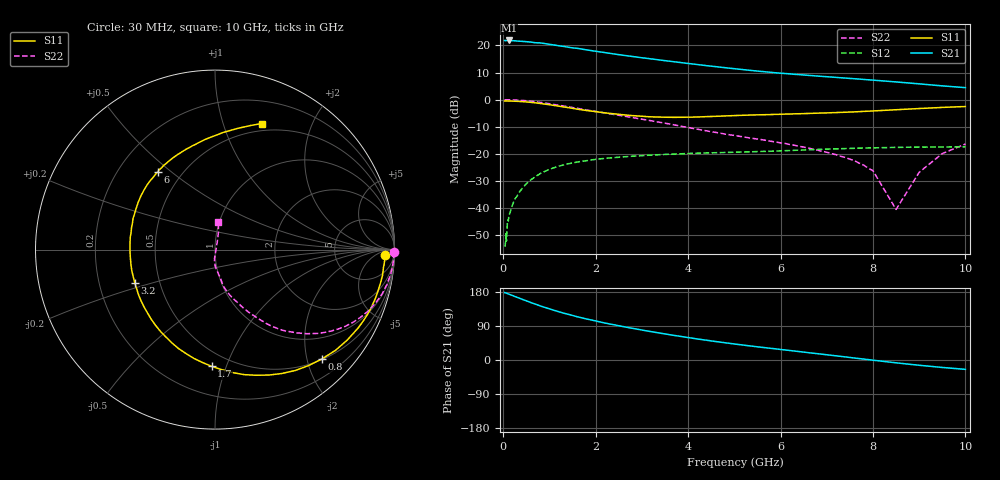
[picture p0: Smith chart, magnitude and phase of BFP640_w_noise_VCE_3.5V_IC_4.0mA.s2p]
! Infineon Technologies  Discrete & RF Semiconductors
! BFP640
! VCE =  3.5 V,  IC =  4.0 mA
! Common Emitter S-Parameters:  Apr 2013
# GHz  S  MA  R  50
!  f  S11  S21  S12  S22
! GHz  MAG  ANG  MAG  ANG  MAG  ANG  MAG  ANG
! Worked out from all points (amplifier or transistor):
!   99 points, 30 MHz to 10 GHz, reference 50 ohm
!   highest |S21| = 21.8 dB at 120 MHz (marker M1)
!   |S21| within 3 dB of that: start of sweep to 1.636 GHz
!   unconditionally stable (mu >= 1): 5.247 GHz to end of sweep
!   at 350 MHz: K = 0.07, MSG = 27.8 dB, |S12| = -34.1 dB
!   at 3.5 GHz: K = 0.77, MSG = 17.3 dB, |S12| = -20.2 dB
!   at 10 GHz: K = 1.17, MAG = 8.4 dB, |S12| = -17.4 dB
!   lowest NFmin = 0.54 dB at 450 MHz
!   S11 on the Smith chart (normalised r, x): 30 MHz: 28, -15; 800 MHz: 0.51, -2.27; 1.7 GHz: 0.39, -0.89; 3.2 GHz: 0.36, -0.17; 6 GHz: 0.37, +0.45; 10 GHz: 0.42, +1.35
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0.03  0.947 -1.7  12.29 177.9  0.002 92.1  0.9972 -0.9
0.06  0.9473 -3.4  12.32 176.6  0.0034 88.2  0.9958 -1.9
0.07  0.9469 -4.0  12.26 176.3  0.0025 85.0  0.996 -2.2
0.09  0.9459 -5.2  12.26 175.3  0.0054 91.8  0.9967 -2.9
0.12  0.944 -6.9  12.35 173.9  0.007 83.6  0.9952 -3.9
0.45  0.9167 -25.8  11.81 158.3  0.0253 76.1  0.9645 -14.6
0.8  0.8514 -45.8  11.12 142.8  0.0435 65.3  0.893 -25.1
1.1  0.7841 -61.7  10.19 131.1  0.0559 56.5  0.8153 -32.9
1.3  0.7361 -72.0  9.602 123.9  0.0626 51.4  0.7649 -37.1
1.7  0.6508 -91.6  8.554 111.3  0.0733 43.0  0.6713 -44.0
2.3  0.5591 -119.1  7.171 95.1  0.0844 33.4  0.5503 -52.2
2.7  0.5163 -136.5  6.421 85.7  0.0897 28.5  0.4841 -56.0
3.2  0.4834 -157.7  5.648 74.9  0.0953 23.1  0.4093 -60.8
3.4  0.4781 -165.8  5.369 70.8  0.097 21.3  0.3815 -62.7
4.1  0.4772 168.4  4.552 57.4  0.1025 15.2  0.2962 -69.1
5.1  0.5129 141.9  3.65 40.8  0.1083 8.6  0.2125 -76.7
6  0.5385 126.1  3.081 27.8  0.1139 4.1  0.1601 -79.4
6.7  0.5611 115.2  2.77 18.0  0.1202 0.1  0.1224 -83.6
8  0.6202 93.9  2.293 -0.4  0.1296 -8.5  0.0492 -93.1
8.5  0.6533 86.2  2.125 -7.5  0.1322 -11.9  0.0095 -61.2
9  0.6871 79.4  1.958 -13.9  0.1338 -15.1  0.0459 73.8
10  0.749 69.7  1.667 -24.7  0.1354 -20.2  0.1523 83.2
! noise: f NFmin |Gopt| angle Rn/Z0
0.45  0.54  0.5  12  0.12
0.9  0.55  0.5  22  0.12
1.5  0.6  0.44  35  0.12
1.9  0.65  0.39  51  0.12
2.4  0.7  0.36  59  0.11
3.5  0.85  0.3  87  0.11
5.5  1.13  0.3  -163  0.12
10  1.9  0.64  -65  0.47
